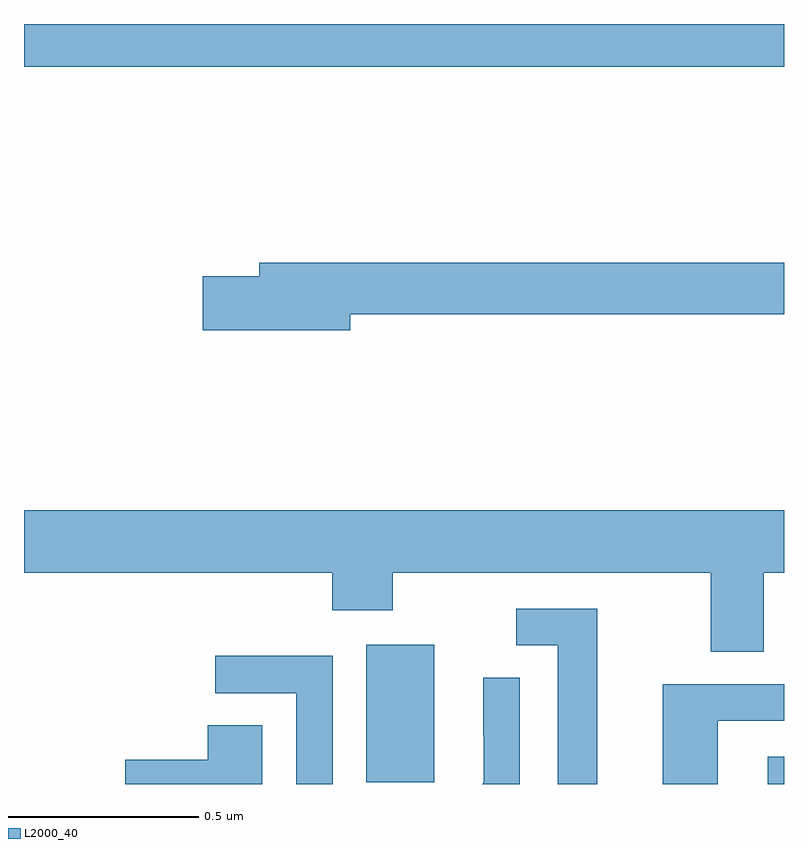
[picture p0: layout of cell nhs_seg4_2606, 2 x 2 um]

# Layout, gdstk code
import gdstk
lib = gdstk.Library(unit=1e-6, precision=1e-09)
def R(c, l, rs):  # rectangles x0, y0, x1, y1
    for r in rs: c.add(gdstk.rectangle(r[:2], r[2:], *l))
def P(c, l, *ps):  # polygons
    for p in ps: c.add(gdstk.Polygon(p, *l))
L2000_40 = (2000, 40)

nhs_seg4_2606 = lib.new_cell('nhs_seg4_2606')
R(nhs_seg4_2606, L2000_40, [(143.957,826.9,144,826.972), (142.901,826.905,143.08,827.266), (142,828.788,144,828.9)])
P(nhs_seg4_2606, L2000_40, [(142.858,828.136),(144,828.136),(144,828.272),(142.619,828.272),(142.619,828.236),(142.47,828.236),(142.47,828.094),(142.858,828.094)],
  [(143.947,827.456),(144,827.456),(144,827.62),(142,827.62),(142,827.456),(142.811,827.456),(142.811,827.357),(142.971,827.357),(142.971,827.456),(143.807,827.456),(143.807,827.248),(143.947,827.248)],
  [(143.509,827.361),(143.295,827.361),(143.295,827.265),(143.405,827.265),(143.405,826.9),(143.509,826.9)],
  [(142.812,827.238),(142.503,827.238),(142.503,827.139),(142.716,827.139),(142.716,826.9),(142.812,826.9)],
  [(143.304,827.18),(143.208,827.18),(143.208,827.026),(143.21,827.026),(143.21,826.904),(143.206,826.9),(143.304,826.9)],
  [(143.826,827.067),(144,827.067),(144,827.163),(143.681,827.163),(143.681,826.9),(143.826,826.9)],
  [(142.627,827.054),(142.484,827.054),(142.484,826.964),(142.266,826.964),(142.266,826.9),(142.627,826.9)])

lib.write_gds('nhs_seg4_2606.gds')
